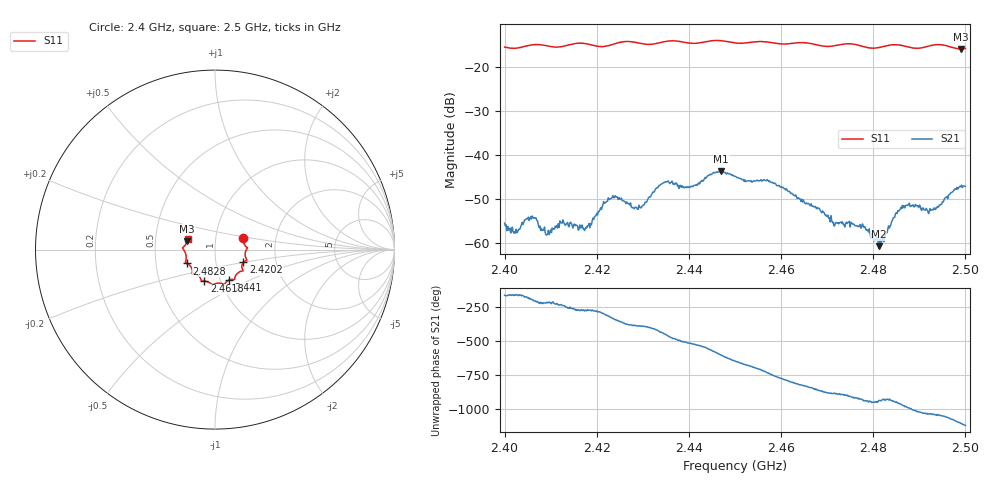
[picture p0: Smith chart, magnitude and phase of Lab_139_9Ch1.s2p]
# Hz S RI R 50
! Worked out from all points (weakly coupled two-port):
!   601 points, 2.4 GHz to 2.5 GHz, reference 50 ohm
!   highest |S21| = -43.62 dB at 2.447 GHz (marker M1); lowest = -60.7 dB at 2.4812 GHz (marker M2)
!   lowest |S11| = -15.8 dB at 2.499 GHz (marker M3), VSWR 1.38, Z = 36.5 + j3.48 ohm
!   |S11| at or under -10 dB: start of sweep to end of sweep
!   S12 and S22 are empty: the file has one direction only
!   S11 on the Smith chart (normalised r, x): 2.4 GHz: 1.36, +0.18; 2.4202 GHz: 1.36, -0.20; 2.441 GHz: 1.10, -0.39; 2.4618 GHz: 0.84, -0.30; 2.4828 GHz: 0.72, -0.11; 2.5 GHz: 0.73, +0.09
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2.4e9  0.1574 0.0631  -0.0016 -0.000564  0 0  0 0
2.402333e9  0.1605 0.0349  -0.00123 -0.000436  0 0  0 0
2.406167e9  0.1798 0.0117  -0.00188 0.000567  0 0  0 0
2.409333e9  0.1747 -0.000108  -0.00101 0.000774  0 0  0 0
2.4125e9  0.1684 -0.0342  -0.000914 0.00142  0 0  0 0
2.416667e9  0.1779 -0.0601  -7.57e-05 0.00151  0 0  0 0
2.420167e9  0.1582 -0.0707  0.000521 0.00203  0 0  0 0
2.423833e9  0.1514 -0.1054  0.00305 0.00129  0 0  0 0
2.429333e9  0.1428 -0.1213  0.00232 -0.00112  0 0  0 0
2.433333e9  0.1121 -0.1512  0.00193 -0.00391  0 0  0 0
2.441e9  0.0787 -0.1696  -0.00426 -0.00139  0 0  0 0
2.447e9  0.0483 -0.1944  -0.00301 0.00586  0 0  0 0
2.45e9  0.0285 -0.1871  0.00169 0.00553  0 0  0 0
2.461833e9  -0.0594 -0.1756  0.000727 -0.00382  0 0  0 0
2.466667e9  -0.0778 -0.1681  -0.00151 -0.00217  0 0  0 0
2.481167e9  -0.1441 -0.0847  -0.000704 0.000604  0 0  0 0
2.482833e9  -0.1574 -0.0773  -0.00118 0.000681  0 0  0 0
2.483333e9  -0.1605 -0.0761  -0.00129 0.000913  0 0  0 0
2.486167e9  -0.1638 -0.0669  -0.000867 0.00232  0 0  0 0
2.4925e9  -0.1764 0.00146  0.0018 0.00156  0 0  0 0
2.499e9  -0.1546 0.0465  0.00387 -0.00208  0 0  0 0
2.5e9  -0.1515 0.061  0.00322 -0.00305  0 0  0 0
